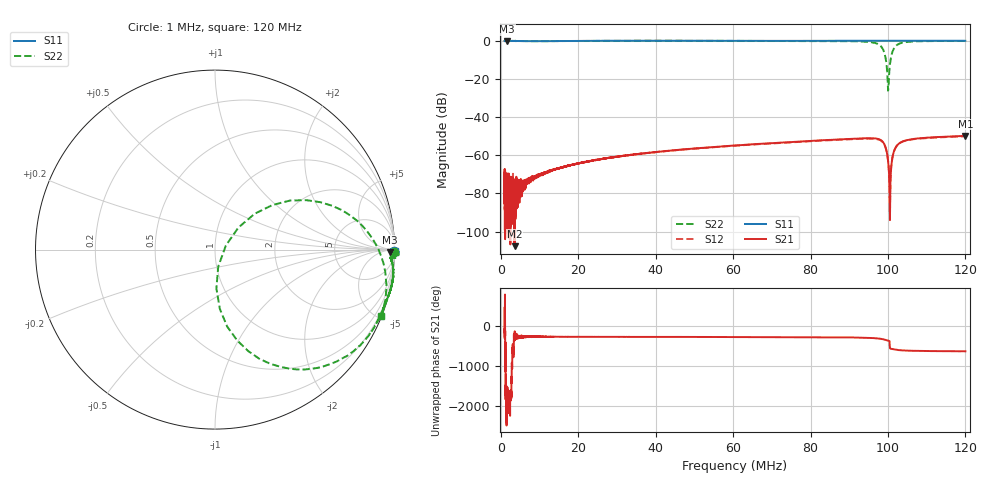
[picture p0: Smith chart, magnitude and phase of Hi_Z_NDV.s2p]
#  HZ  S  DB  R  50.0
! Rohde & Schwarz ZVL
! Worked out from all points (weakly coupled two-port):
!   4000 points, 1 MHz to 120 MHz, reference 50 ohm
!   highest |S21| = -49.85 dB at 120 MHz (marker M1); lowest = -107.7 dB at 3.6 MHz (marker M2)
!   lowest |S11| = -0.2 dB at 1.681 MHz (marker M3), VSWR 82.13, Z = 3.03e+03 - j1.81e+03 ohm
!   |S11| at or under -10 dB: nowhere
!   |S22| runs from -26.1 to 0.2 dB; largest |S21 - S12| = 0.00057
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1000000  -0.02 -0.3  -78.57 -79.7  -73.80 -27.0  0.00 -0.7
1101828  -0.01 -0.4  -86.81 59.0  -75.82 -11.5  -0.01 -0.5
1243444  -0.01 -0.4  -82.82 -88.5  -88.59 -65.2  -0.01 -0.7
1548006  0.18 -0.4  -87.40 -168.1  -75.01 -177.4  0.18 -2.0
1681309  -0.21 -0.8  -76.73 111.2  -74.41 98.8  -0.14 -0.6
1817367  -0.05 -0.2  -82.80 109.2  -79.70 114.8  -0.02 -0.8
3600146  -0.06 -0.6  -107.67 156.3  -84.90 71.3  -0.05 -1.5
1.033652e7  -0.16 -0.3  -69.95 87.8  -70.36 85.2  -0.17 -2.7
2.084733e7  -0.04 0.1  -63.89 86.6  -63.93 86.1  -0.06 -5.0
4.070884e7  0.05 0.1  -58.17 84.6  -58.23 84.7  0.04 -10.4
6.050398e7  -0.01 0.1  -54.86 81.4  -54.99 81.7  -0.01 -15.6
8.035377e7  0.01 -0.3  -52.47 77.3  -52.60 77.5  -0.08 -22.5
9.199365e7  0.04 -0.3  -51.27 68.4  -51.50 68.9  -0.26 -32.4
9.650612e7  0.05 -0.4  -51.14 53.1  -51.38 54.0  -1.02 -47.1
9.766841e7  0.05 -0.4  -51.57 42.6  -51.76 44.1  -1.96 -56.8
9.849033e7  0.06 0.1  -52.54 30.7  -52.75 32.1  -3.64 -67.8
1.002749e8  0.06 -0.4  -69.12 -16.6  -69.47 -14.6  -18.44 39.4
1.023366e8  0.06 -0.5  -54.91 118.9  -54.91 119.3  -2.17 14.0
1.033215e8  0.06 -0.3  -53.22 109.5  -53.28 109.7  -1.19 4.8
1.051936e8  0.06 -0.2  -51.92 99.9  -52.02 100.0  -0.52 -4.7
1.102216e8  0.06 -0.4  -50.77 90.2  -50.93 90.5  -0.13 -14.6
1.2e8  0.02 -0.1  -49.85 84.8  -50.08 85.1  -0.04 -21.8
